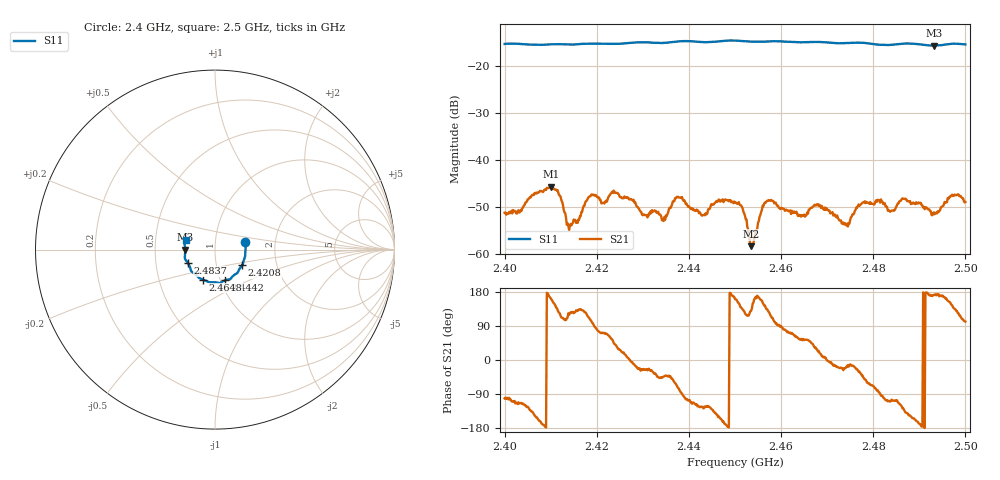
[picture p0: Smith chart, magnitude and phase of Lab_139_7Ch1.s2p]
# Hz S RI R 50
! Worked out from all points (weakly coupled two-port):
!   601 points, 2.4 GHz to 2.5 GHz, reference 50 ohm
!   highest |S21| = -45.65 dB at 2.4102 GHz (marker M1); lowest = -58.4 dB at 2.4535 GHz (marker M2)
!   lowest |S11| = -15.6 dB at 2.4932 GHz (marker M3), VSWR 1.40, Z = 35.8 - j0.0851 ohm
!   |S11| at or under -10 dB: start of sweep to end of sweep
!   S12 and S22 are empty: the file has one direction only
!   S11 on the Smith chart (normalised r, x): 2.4 GHz: 1.40, +0.12; 2.4208 GHz: 1.33, -0.24; 2.4442 GHz: 1.05, -0.37; 2.4648 GHz: 0.83, -0.29; 2.4837 GHz: 0.73, -0.11; 2.5 GHz: 0.72, +0.08
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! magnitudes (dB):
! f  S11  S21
! 2.4 GHz  -15.2  -51.2
! 2.4102 GHz  -15.3  -45.7
! 2.414 GHz  -15.4  -54.9
! 2.4167 GHz  -15.2  -51.1
! 2.4208 GHz  -15.2  -48.5
! 2.4242 GHz  -15.2  -47.0
! 2.4333 GHz  -15.0  -51.0
! 2.4378 GHz  -14.7  -48.0
! 2.4442 GHz  -14.9  -50.5
! 2.45 GHz  -14.5  -49.0
! 2.4517 GHz  -14.6  -50.3
! 2.4535 GHz  -14.7  -58.4
! 2.457 GHz  -14.7  -48.7
! 2.4648 GHz  -14.9  -51.7
! 2.4667 GHz  -14.8  -50.2
! 2.4742 GHz  -15.1  -53.9
! 2.478 GHz  -15.0  -49.0
! 2.4833 GHz  -15.5  -50.7
! 2.4837 GHz  -15.5  -51.0
! 2.4867 GHz  -15.2  -48.3
! 2.4932 GHz  -15.6  -51.1
! 2.5 GHz  -15.3  -48.9
